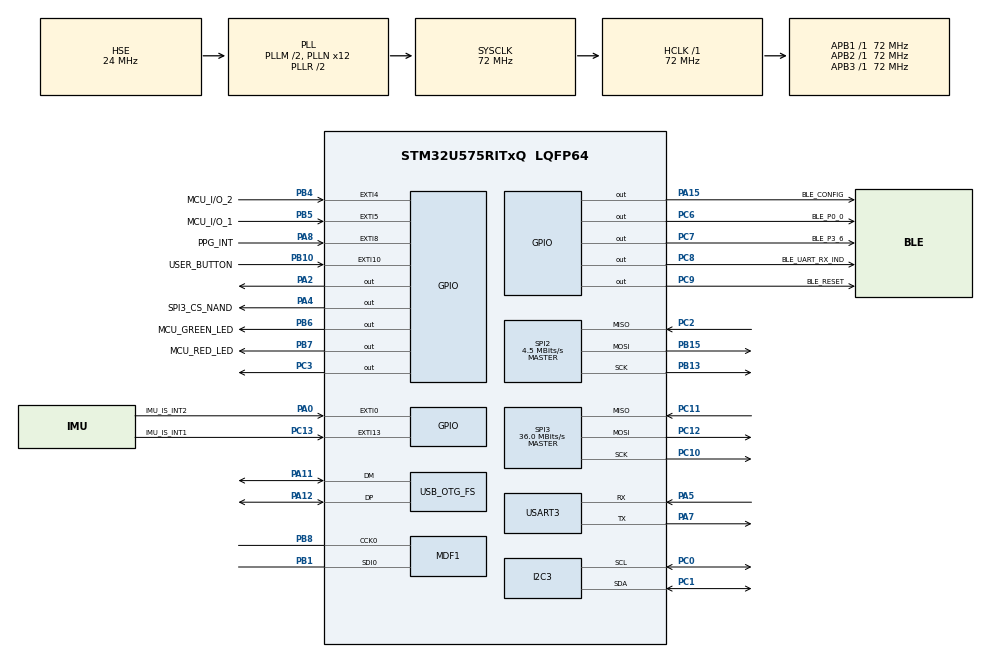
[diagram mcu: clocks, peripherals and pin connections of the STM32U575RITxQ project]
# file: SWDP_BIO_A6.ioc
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CORTEX_M33_NS.userName=CORTEX_M33
I2C3.Timing=0x10808DD3
MDF1.MDF_COMPARAM_ActivationClockTrigger=ENABLE
MDF1.MDF_COMPARAM_ActivationOutputClock=ENABLE
MDF1.MDF_COMPARAM_Divider=5
MDF1.MDF_COMPARAM_Pins=MDF_OUTPUT_CLOCK_ALL
MDF1.MDF_DFLT0_AcquisitionMode=MDF_MODE_SYNC_CONT
MDF1.MDF_DFLT0_CIC_Mode=MDF_ONE_FILTER_SINC5
MDF1.MDF_DFLT0_Decimation=16
MDF1.MDF_DFLT0_DiscardSamples=255
MDF1.MDF_DFLT0_Gain=1
MDF1.MDF_DFLT0_HighPassFilterActivation=ENABLE
MDF1.MDF_DFLT0_ReshapeFilterActivation=ENABLE
MDF1.MDF_SITF0_Mode_Display=MDF_SITF_NORMAL_SPI_MODE
MDF1.MDF_SITF0_Threshold=31
Mcu.Family=STM32U5
Mcu.Name=STM32U575RITxQ
Mcu.Package=LQFP64
NVIC.EXTI0_IRQn=true\:0\:0\:false\:false\:true\:true\:true\:true
NVIC.EXTI10_IRQn=true\:0\:0\:false\:false\:true\:true\:true\:true
NVIC.EXTI13_IRQn=true\:0\:0\:false\:false\:true\:true\:true\:true
NVIC.EXTI4_IRQn=true\:0\:0\:false\:false\:true\:true\:true\:true
NVIC.EXTI5_IRQn=true\:0\:0\:false\:false\:true\:true\:true\:true
NVIC.EXTI8_IRQn=true\:0\:0\:false\:false\:true\:true\:true\:true
NVIC.MDF1_FLT0_IRQn=true\:0\:0\:false\:false\:true\:true\:true\:true
NVIC.OTG_FS_IRQn=true\:0\:0\:false\:false\:true\:true\:true\:true
NVIC.PriorityGroup=NVIC_PRIORITYGROUP_4
NVIC.SPI2_IRQn=true\:0\:0\:false\:false\:true\:true\:true\:true
NVIC.SPI3_IRQn=true\:0\:0\:false\:false\:true\:true\:true\:true
NVIC.TIM2_IRQn=true\:2\:0\:true\:false\:true\:true\:true\:true
NVIC.TIM3_IRQn=true\:0\:0\:false\:false\:true\:true\:true\:true
NVIC.USART3_IRQn=true\:0\:0\:false\:false\:true\:true\:true\:true
PA0.GPIO_Label=IMU_IS_INT2
PA0.Signal=GPXTI0
PA11.GPIO_Speed=GPIO_SPEED_FREQ_VERY_HIGH
PA11.Mode=Device_Only
PA11.Signal=USB_OTG_FS_DM
PA12.GPIO_Speed=GPIO_SPEED_FREQ_VERY_HIGH
PA12.Mode=Device_Only
PA12.Signal=USB_OTG_FS_DP
PA13\ (JTMS/SWDIO).Mode=Trace_Asynchronous_SW
PA13\ (JTMS/SWDIO).Signal=DEBUG_JTMS-SWDIO
PA14\ (JTCK/SWCLK).Mode=Trace_Asynchronous_SW
PA14\ (JTCK/SWCLK).Signal=DEBUG_JTCK-SWCLK
PA15\ (JTDI).GPIO_Label=BLE_CONFIG
PA15\ (JTDI).PinState=GPIO_PIN_SET
PA15\ (JTDI).Signal=GPIO_Output
PA2.Signal=GPIO_Output
PA4.GPIO_Label=SPI3_CS_NAND
PA4.Signal=GPIO_Output
PA5.Mode=Asynchronous
PA5.Signal=USART3_RX
PA7.Mode=Asynchronous
PA7.Signal=USART3_TX
PA8.GPIO_Label=PPG_INT
PA8.GPIO_ModeDefaultEXTI=GPIO_MODE_IT_FALLING
PA8.GPIO_PuPd=GPIO_NOPULL
PA8.Signal=GPXTI8
PA9.Signal=USB_OTG_FS_VBUS
PB1.GPIO_Speed=GPIO_SPEED_FREQ_VERY_HIGH
PB1.Mode=MOD_MDF_SITF0_CCK0
PB1.Signal=MDF1_SDI0
PB10.GPIO_Label=USER_BUTTON
PB10.GPIO_ModeDefaultEXTI=GPIO_MODE_IT_RISING_FALLING
PB10.GPIO_PuPd=GPIO_PULLDOWN
PB10.Signal=GPXTI10
PB13.Mode=Full_Duplex_Master
PB13.Signal=SPI2_SCK
PB15.Mode=Full_Duplex_Master
PB15.Signal=SPI2_MOSI
PB3\ (JTDO/TRACESWO).Mode=Trace_Asynchronous_SW
PB3\ (JTDO/TRACESWO).Signal=DEBUG_JTDO-SWO
PB4\ (NJTRST).GPIO_Label=MCU_I/O_2
PB4\ (NJTRST).Signal=GPXTI4
PB5.GPIO_Label=MCU_I/O_1
PB5.Signal=GPXTI5
PB6.GPIO_Label=MCU_GREEN_LED
PB6.Signal=GPIO_Output
PB7.GPIO_Label=MCU_RED_LED
PB7.Signal=GPIO_Output
PB8.GPIO_FM8=SYSCFG_FASTMODEPLUS_PB8
PB8.GPIO_Speed=GPIO_SPEED_FREQ_VERY_HIGH
PB8.Mode=MOD_MDF_CCK0
PB8.Signal=MDF1_CCK0
PC0.Mode=I2C
PC0.Signal=I2C3_SCL
PC1.Mode=I2C
PC1.Signal=I2C3_SDA
PC10.Mode=Full_Duplex_Master
PC10.Signal=SPI3_SCK
PC11.Mode=Full_Duplex_Master
PC11.Signal=SPI3_MISO
PC12.Mode=Full_Duplex_Master
PC12.Signal=SPI3_MOSI
PC13.GPIO_Label=IMU_IS_INT1
PC13.Signal=GPXTI13
PC14-OSC32_IN\ (PC14).Mode=LSE-External-Oscillator
PC14-OSC32_IN\ (PC14).Signal=RCC_OSC32_IN
PC15-OSC32_OUT\ (PC15).Mode=LSE-External-Oscillator
PC15-OSC32_OUT\ (PC15).Signal=RCC_OSC32_OUT
PC2.Mode=Full_Duplex_Master
PC2.Signal=SPI2_MISO
PC3.Signal=GPIO_Output
PC6.GPIO_Label=BLE_P0_0
PC6.Signal=GPIO_Output
PC7.GPIO_Label=BLE_P3_6
PC7.Signal=GPIO_Output
PC8.GPIO_Label=BLE_UART_RX_IND
PC8.Signal=GPIO_Output
PC9.GPIO_Label=BLE_RESET
PC9.Signal=GPIO_Output
PH0-OSC_IN\ (PH0).Mode=HSE-External-Oscillator
PH0-OSC_IN\ (PH0).Signal=RCC_OSC_IN
PH1-OSC_OUT\ (PH1).Mode=HSE-External-Oscillator
PH1-OSC_OUT\ (PH1).Signal=RCC_OSC_OUT
ProjectManager.HeapSize=0x400
ProjectManager.StackSize=0x800
ProjectManager.TargetToolchain=CMake
RCC.ADCFreq_Value=16000000
RCC.AHBFreq_Value=72000000
RCC.APB1Freq_Value=72000000
RCC.APB1TimFreq_Value=72000000
RCC.APB2Freq_Value=72000000
RCC.APB2TimFreq_Value=72000000
RCC.APB3Freq_Value=72000000
RCC.CK48CLockSelection=RCC_CLK48CLKSOURCE_PLL1
RCC.CortexFreq_Value=72000000
RCC.EPOD_VALUE=24000000
RCC.HCLKFreq_Value=72000000
RCC.HSE_VALUE=24000000
RCC.HSI48_VALUE=48000000
RCC.HSI_VALUE=16000000
RCC.LSIDIV_VALUE=32000
RCC.MSIClockRange=RCC_MSIRANGE_0
RCC.MSI_VALUE=48000000
RCC.MdfClockSelection=RCC_MDF1CLKSOURCE_PLL3
RCC.PLL1Q=3
RCC.PLL2FRACN=0
RCC.PLL3FRACN=0
RCC.PLL3M=3
RCC.PLL3N=48
RCC.PLL3Q=25
RCC.PLL3Source=RCC_PLLSOURCE_HSE
RCC.PLLFRACN=0
RCC.PLLM=2
RCC.PLLN=12
RCC.PLLSourceVirtual=RCC_PLLSOURCE_HSE
RCC.SYSCLKFreq_VALUE=72000000
RCC.SYSCLKSource=RCC_SYSCLKSOURCE_PLLCLK
RCC.USBFreq_Value=48000000
RCC.VCOOutputFreq_Value=144000000
SPI2.BaudRatePrescaler=SPI_BAUDRATEPRESCALER_16
SPI2.CalculateBaudRate=4.5 MBits/s
SPI2.DataSize=SPI_DATASIZE_8BIT
SPI2.Direction=SPI_DIRECTION_2LINES
SPI2.Mode=SPI_MODE_MASTER
SPI2.VirtualType=VM_MASTER
SPI3.CalculateBaudRate=36.0 MBits/s
SPI3.Direction=SPI_DIRECTION_2LINES
SPI3.Mode=SPI_MODE_MASTER
SPI3.VirtualType=VM_MASTER
TIM2.PeriodNoDither=60000-1
TIM2.Prescaler=36000-1
TIM3.PeriodNoDither=550-1
TIM3.Prescaler=7200-1
USART3.VirtualMode-Asynchronous=VM_ASYNC
USB_OTG_FS.VirtualMode=Device_Only
VP_ICACHE_VS_ENABLE_ICACHE_MEMORY.Mode=Memoryregions
VP_LPBAMQUEUE_VS_QUEUE.Mode=QUEUEMODE
VP_LPBAM_VS_SIG1.Mode=SmartRun
VP_LPBAM_VS_SIG4.Mode=LPDMA1
VP_MDF1_VS_MDF_DFLT0.Mode=MOD_MDF_DFLT0
VP_MEMORYMAP_VS_MEMORYMAP.Mode=CurAppReg
VP_PWR_VS_SECSignals.Mode=Security/Privilege
VP_TIM2_VS_ClockSourceINT.Mode=Internal
VP_TIM3_VS_ClockSourceINT.Mode=Internal
board=custom

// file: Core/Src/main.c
/* USER CODE BEGIN Header */
/**
  ******************************************************************************
  * @file           : main.c
  * @brief          : Main application file — PPG Heart Rate Monitor with BLE.
  ******************************************************************************
  */
/* USER CODE END Header */
#include "main.h"

/* USER CODE BEGIN Includes */
#include <math.h>
#include <stdint.h>
#include <stdio.h>
#include <string.h>

#include "bluetooth.h"
#include "hr_algorithm.h"
#include "imu_driver.h"
#include "led_driver.h"
#include "Memory_operations.h"
#include "ppg_driver.h"
#include "SPI.h"
#include "SPI_NAND.h"
#include "stm32u5xx_hal.h"
#include "stm32u5xx_hal_gpio.h"
#include "stm32u5xx_hal_tim.h"
#include "stm32u5xx_hal_uart.h"
#include "usbd_cdc_if.h"
#include "tempsens_driver.h"
#include "../../USB_Device/App/usb_device.h"
/* USER CODE END Includes */

I2C_HandleTypeDef hi2c3;

MDF_HandleTypeDef MdfHandle0;
MDF_FilterConfigTypeDef MdfFilterConfig0;

SPI_HandleTypeDef hspi2;
SPI_HandleTypeDef hspi3;

TIM_HandleTypeDef htim2;
TIM_HandleTypeDef htim3;

UART_HandleTypeDef huart3;

PCD_HandleTypeDef hpcd_USB_OTG_FS;

/* USER CODE BEGIN PV */

// --- State Machine ---
// The current state of the application. Initial state is IDLE.
static AppState current_state = STATE_IDLE;

// --- Global Flags and Variables ---
// Flag to indicate a USB connection event.
// Set to 1 when a USB connection is detected.
uint8_t usb_flag = 0;

// ---- PPG acquisition and circular buffer --------------------------------- //
//
// The FIFO interrupt fires when 17 samples are available (FIFO_A_FULL = 15).
// ppg_acq_buf accumulates samples across ISR calls until PPG_ACQ_SIZE
// samples are collected.  At that point the circular buffer is updated with a
// 50 % overlap shift and hr_ready_flag is raised for the main loop.
//
static volatile uint8_t  hr_ready_flag   = 0;
static volatile uint16_t ppg_acq_idx     = 0;      /* fill index into acq buf  */
static uint32_t ppg_acq_buf[PPG_ACQ_SIZE];          /* ISR-only accumulation    */
static uint32_t ppg_circ_buf[PPG_CIRC_SIZE];        /* shared with main loop    */

static float32_t registered_heart_rates[REGISTERED_HR_SAMPLES_SIZE] = {0.0f};
static uint8_t registered_hr_idx = 0;
static uint8_t registered_hr_count = 0;  // number of valid samples collected so far (warm-up)

static uint8_t flag_temp = 0;
static float temp_value = 60;

/* USER CODE END PV */

void SystemClock_Config(void);
static void MX_GPIO_Init(void);
static void MX_ICACHE_Init(void);
static void MX_I2C3_Init(void);
static void MX_USART3_UART_Init(void);
static void MX_USB_OTG_FS_PCD_Init(void);
static void MX_MDF1_Init(void);
static void MX_TIM2_Init(void);
static void MX_SPI2_Init(void);
static void MX_SPI3_Init(void);
static void MX_TIM3_Init(void);

int main(void)
{

  /* MCU Configuration--------------------------------------------------------*/

  /* Reset of all peripherals, Initializes the Flash interface and the Systick. */
  HAL_Init();

  /* Configure the system clock */
  SystemClock_Config();

  /* Initialize all configured peripherals */
  MX_GPIO_Init();
  MX_ICACHE_Init();
  MX_I2C3_Init();
  MX_USART3_UART_Init();
  MX_USB_OTG_FS_PCD_Init();
  MX_MDF1_Init();
  MX_TIM2_Init();
  MX_SPI2_Init();
  MX_SPI3_Init();
  MX_TIM3_Init();
  /* USER CODE BEGIN 2 */

  // Turn the RED LED on to indicate the start of the initialization process
  LED_On(LED_RED);

  // Initialize hardware peripherals
  BLE_Initialize();
  MX_USB_Device_Init();
  HAL_Delay(1000);

  HR_Algorithm_Init();

  if (PPG_Initialize() != 1) {
    // MAX30101 initialization failed, blink red LED for 2 seconds
    LED_Toggle(LED_RED);
    HAL_Delay(500);
    LED_Toggle(LED_RED);
    HAL_Delay(500);
    LED_Toggle(LED_RED);
    HAL_Delay(500);
    LED_Toggle(LED_RED);
    HAL_Delay(500);
    LED_Toggle(LED_RED);
    HAL_Delay(500);
    LED_Toggle(LED_RED);
    HAL_Delay(500);
  }

  // Turn off the red LED to indicate that initialization is complete
  LED_Off(LED_RED);

  //Initialize temperture sensor
  Temp_Init();

  // Start TIM2 to trigger temperature readings every 30 seconds
  HAL_TIM_Base_Start_IT(&htim2);

  /* USER CODE END 2 */

  /* Infinite loop */
  while (1)
  {

    /* USER CODE BEGIN 3 */

		//LED_Toggle(LED_GREEN);
		//HAL_Delay(1000);

	  switch(current_state)
	  {
        case STATE_IDLE:
            if (flag_temp) {
              flag_temp = 0;

              //Send it via BLE
              BLE_SendPacket_Temperature(temp_value);
            }
            break;

	  	  case STATE_ACQUISITION:
            if (hr_ready_flag) {
              hr_ready_flag = 0;
              float32_t bpm = HR_Process(ppg_circ_buf);

              // Store the raw float BPM (no premature rounding)
              registered_heart_rates[registered_hr_idx] = bpm;
              if (registered_hr_count < REGISTERED_HR_SAMPLES_SIZE) {
                registered_hr_count++;
              }
              // Increase the registered hr_index with wrap around
              if (registered_hr_idx == REGISTERED_HR_SAMPLES_SIZE - 1) {
                registered_hr_idx = 0;
              } else {
                registered_hr_idx++;
              }

              // Compute the average over the valid samples only (warm-up safe)
              float32_t hr_sum = 0.0f;
              for (uint8_t i = 0; i < registered_hr_count; i++) {
                hr_sum += registered_heart_rates[i];
              }
              uint8_t hr_avg = (uint8_t)((hr_sum / registered_hr_count) + 0.5f); // Round to nearest integer

              // BLE_SendPacket_PPG(ppg_circ_buf + PPG_ACQ_SIZE, PPG_ACQ_SIZE);
              BLE_SendPacket_HR(hr_avg);
            }

            if (flag_temp) {
              flag_temp = 0;

              //Send it via BLE
              BLE_SendPacket_Temperature(temp_value);
            }
            break;
        default:
            break;

	  }

  }
  /* USER CODE END 3 */
}

void SystemClock_Config(void)
{
  RCC_OscInitTypeDef RCC_OscInitStruct = {0};
  RCC_ClkInitTypeDef RCC_ClkInitStruct = {0};

  /** Configure the main internal regulator output voltage
  */
  if (HAL_PWREx_ControlVoltageScaling(PWR_REGULATOR_VOLTAGE_SCALE2) != HAL_OK)
  {
    Error_Handler();
  }

  /** Initializes the CPU, AHB and APB buses clocks
  */
  RCC_OscInitStruct.OscillatorType = RCC_OSCILLATORTYPE_HSE;
  RCC_OscInitStruct.HSEState = RCC_HSE_ON;
  RCC_OscInitStruct.PLL.PLLState = RCC_PLL_ON;
  RCC_OscInitStruct.PLL.PLLSource = RCC_PLLSOURCE_HSE;
  RCC_OscInitStruct.PLL.PLLMBOOST = RCC_PLLMBOOST_DIV2;
  RCC_OscInitStruct.PLL.PLLM = 2;
  RCC_OscInitStruct.PLL.PLLN = 12;
  RCC_OscInitStruct.PLL.PLLP = 2;
  RCC_OscInitStruct.PLL.PLLQ = 3;
  RCC_OscInitStruct.PLL.PLLR = 2;
  RCC_OscInitStruct.PLL.PLLRGE = RCC_PLLVCIRANGE_1;
  RCC_OscInitStruct.PLL.PLLFRACN = 0;
  if (HAL_RCC_OscConfig(&RCC_OscInitStruct) != HAL_OK)
  {
    Error_Handler();
  }

  /** Initializes the CPU, AHB and APB buses clocks
  */
  RCC_ClkInitStruct.ClockType = RCC_CLOCKTYPE_HCLK|RCC_CLOCKTYPE_SYSCLK
                              |RCC_CLOCKTYPE_PCLK1|RCC_CLOCKTYPE_PCLK2
                              |RCC_CLOCKTYPE_PCLK3;
  RCC_ClkInitStruct.SYSCLKSource = RCC_SYSCLKSOURCE_PLLCLK;
  RCC_ClkInitStruct.AHBCLKDivider = RCC_SYSCLK_DIV1;
  RCC_ClkInitStruct.APB1CLKDivider = RCC_HCLK_DIV1;
  RCC_ClkInitStruct.APB2CLKDivider = RCC_HCLK_DIV1;
  RCC_ClkInitStruct.APB3CLKDivider = RCC_HCLK_DIV1;

  if (HAL_RCC_ClockConfig(&RCC_ClkInitStruct, FLASH_LATENCY_2) != HAL_OK)
  {
    Error_Handler();
  }
}

static void MX_I2C3_Init(void)
{

  hi2c3.Instance = I2C3;
  hi2c3.Init.Timing = 0x10808DD3;
  hi2c3.Init.OwnAddress1 = 0;
  hi2c3.Init.AddressingMode = I2C_ADDRESSINGMODE_7BIT;
  hi2c3.Init.DualAddressMode = I2C_DUALADDRESS_DISABLE;
  hi2c3.Init.OwnAddress2 = 0;
  hi2c3.Init.OwnAddress2Masks = I2C_OA2_NOMASK;
  hi2c3.Init.GeneralCallMode = I2C_GENERALCALL_DISABLE;
  hi2c3.Init.NoStretchMode = I2C_NOSTRETCH_DISABLE;
  if (HAL_I2C_Init(&hi2c3) != HAL_OK)
  {
    Error_Handler();
  }

  /** Configure Analogue filter
  */
  if (HAL_I2CEx_ConfigAnalogFilter(&hi2c3, I2C_ANALOGFILTER_ENABLE) != HAL_OK)
  {
    Error_Handler();
  }

  /** Configure Digital filter
  */
  if (HAL_I2CEx_ConfigDigitalFilter(&hi2c3, 0) != HAL_OK)
  {
    Error_Handler();
  }

}

static void MX_ICACHE_Init(void)
{

}

static void MX_MDF1_Init(void)
{

  /**
    MdfHandle0 structure initialization and HAL_MDF_Init function call
  */
  MdfHandle0.Instance = MDF1_Filter0;
  MdfHandle0.Init.CommonParam.InterleavedFilters = 0;
  MdfHandle0.Init.CommonParam.ProcClockDivider = 1;
  MdfHandle0.Init.CommonParam.OutputClock.Activation = ENABLE;
  MdfHandle0.Init.CommonParam.OutputClock.Pins = MDF_OUTPUT_CLOCK_ALL;
  MdfHandle0.Init.CommonParam.OutputClock.Divider = 5;
  MdfHandle0.Init.CommonParam.OutputClock.Trigger.Activation = ENABLE;
  MdfHandle0.Init.CommonParam.OutputClock.Trigger.Source = MDF_CLOCK_TRIG_TRGO;
  MdfHandle0.Init.CommonParam.OutputClock.Trigger.Edge = MDF_CLOCK_TRIG_FALLING_EDGE;
  MdfHandle0.Init.SerialInterface.Activation = ENABLE;
  MdfHandle0.Init.SerialInterface.Mode = MDF_SITF_NORMAL_SPI_MODE;
  MdfHandle0.Init.SerialInterface.ClockSource = MDF_SITF_CCK0_SOURCE;
  MdfHandle0.Init.SerialInterface.Threshold = 31;
  MdfHandle0.Init.FilterBistream = MDF_BITSTREAM0_RISING;
  if (HAL_MDF_Init(&MdfHandle0) != HAL_OK)
  {
    Error_Handler();
  }

  /**
    MdfFilterConfig0, MdfOldConfig0 and/or MdfScdConfig0 structures initialization

    WARNING : only structures are filled, no specific init function call for filter
  */
  MdfFilterConfig0.DataSource = MDF_DATA_SOURCE_BSMX;
  MdfFilterConfig0.Delay = 0;
  MdfFilterConfig0.CicMode = MDF_ONE_FILTER_SINC5;
  MdfFilterConfig0.DecimationRatio = 16;
  MdfFilterConfig0.Offset = 0;
  MdfFilterConfig0.Gain = 1;
  MdfFilterConfig0.ReshapeFilter.Activation = ENABLE;
  MdfFilterConfig0.ReshapeFilter.DecimationRatio = MDF_RSF_DECIMATION_RATIO_4;
  MdfFilterConfig0.HighPassFilter.Activation = ENABLE;
  MdfFilterConfig0.HighPassFilter.CutOffFrequency = MDF_HPF_CUTOFF_0_000625FPCM;
  MdfFilterConfig0.Integrator.Activation = DISABLE;
  MdfFilterConfig0.SoundActivity.Activation = DISABLE;
  MdfFilterConfig0.AcquisitionMode = MDF_MODE_SYNC_CONT;
  MdfFilterConfig0.FifoThreshold = MDF_FIFO_THRESHOLD_NOT_EMPTY;
  MdfFilterConfig0.DiscardSamples = 255;
  MdfFilterConfig0.Trigger.Source = MDF_CLOCK_TRIG_TRGO;
  MdfFilterConfig0.Trigger.Edge = MDF_FILTER_TRIG_RISING_EDGE;

}

static void MX_SPI2_Init(void)
{

  SPI_AutonomousModeConfTypeDef HAL_SPI_AutonomousMode_Cfg_Struct = {0};

  /* SPI2 parameter configuration*/
  hspi2.Instance = SPI2;
  hspi2.Init.Mode = SPI_MODE_MASTER;
  hspi2.Init.Direction = SPI_DIRECTION_2LINES;
  hspi2.Init.DataSize = SPI_DATASIZE_8BIT;
  hspi2.Init.CLKPolarity = SPI_POLARITY_LOW;
  hspi2.Init.CLKPhase = SPI_PHASE_1EDGE;
  hspi2.Init.NSS = SPI_NSS_SOFT;
  hspi2.Init.BaudRatePrescaler = SPI_BAUDRATEPRESCALER_16;
  hspi2.Init.FirstBit = SPI_FIRSTBIT_MSB;
  hspi2.Init.TIMode = SPI_TIMODE_DISABLE;
  hspi2.Init.CRCCalculation = SPI_CRCCALCULATION_DISABLE;
  hspi2.Init.CRCPolynomial = 0x7;
  hspi2.Init.NSSPMode = SPI_NSS_PULSE_ENABLE;
  hspi2.Init.NSSPolarity = SPI_NSS_POLARITY_LOW;
  hspi2.Init.FifoThreshold = SPI_FIFO_THRESHOLD_01DATA;
  hspi2.Init.MasterSSIdleness = SPI_MASTER_SS_IDLENESS_00CYCLE;
  hspi2.Init.MasterInterDataIdleness = SPI_MASTER_INTERDATA_IDLENESS_00CYCLE;
  hspi2.Init.MasterReceiverAutoSusp = SPI_MASTER_RX_AUTOSUSP_DISABLE;
  hspi2.Init.MasterKeepIOState = SPI_MASTER_KEEP_IO_STATE_DISABLE;
  hspi2.Init.IOSwap = SPI_IO_SWAP_DISABLE;
  hspi2.Init.ReadyMasterManagement = SPI_RDY_MASTER_MANAGEMENT_INTERNALLY;
  hspi2.Init.ReadyPolarity = SPI_RDY_POLARITY_HIGH;
  if (HAL_SPI_Init(&hspi2) != HAL_OK)
  {
    Error_Handler();
  }
  HAL_SPI_AutonomousMode_Cfg_Struct.TriggerState = SPI_AUTO_MODE_DISABLE;
  HAL_SPI_AutonomousMode_Cfg_Struct.TriggerSelection = SPI_GRP1_GPDMA_CH0_TCF_TRG;
  HAL_SPI_AutonomousMode_Cfg_Struct.TriggerPolarity = SPI_TRIG_POLARITY_RISING;
  if (HAL_SPIEx_SetConfigAutonomousMode(&hspi2, &HAL_SPI_AutonomousMode_Cfg_Struct) != HAL_OK)
  {
    Error_Handler();
  }

}

static void MX_SPI3_Init(void)
{

  SPI_AutonomousModeConfTypeDef HAL_SPI_AutonomousMode_Cfg_Struct = {0};

  /* SPI3 parameter configuration*/
  hspi3.Instance = SPI3;
  hspi3.Init.Mode = SPI_MODE_MASTER;
  hspi3.Init.Direction = SPI_DIRECTION_2LINES;
  hspi3.Init.DataSize = SPI_DATASIZE_8BIT;
  hspi3.Init.CLKPolarity = SPI_POLARITY_LOW;
  hspi3.Init.CLKPhase = SPI_PHASE_1EDGE;
  hspi3.Init.NSS = SPI_NSS_SOFT;
  hspi3.Init.BaudRatePrescaler = SPI_BAUDRATEPRESCALER_2;
  hspi3.Init.FirstBit = SPI_FIRSTBIT_MSB;
  hspi3.Init.TIMode = SPI_TIMODE_DISABLE;
  hspi3.Init.CRCCalculation = SPI_CRCCALCULATION_DISABLE;
  hspi3.Init.CRCPolynomial = 0x7;
  hspi3.Init.NSSPMode = SPI_NSS_PULSE_ENABLE;
  hspi3.Init.NSSPolarity = SPI_NSS_POLARITY_LOW;
  hspi3.Init.FifoThreshold = SPI_FIFO_THRESHOLD_01DATA;
  hspi3.Init.MasterSSIdleness = SPI_MASTER_SS_IDLENESS_00CYCLE;
  hspi3.Init.MasterInterDataIdleness = SPI_MASTER_INTERDATA_IDLENESS_00CYCLE;
  hspi3.Init.MasterReceiverAutoSusp = SPI_MASTER_RX_AUTOSUSP_DISABLE;
  hspi3.Init.MasterKeepIOState = SPI_MASTER_KEEP_IO_STATE_DISABLE;
  hspi3.Init.IOSwap = SPI_IO_SWAP_DISABLE;
  hspi3.Init.ReadyMasterManagement = SPI_RDY_MASTER_MANAGEMENT_INTERNALLY;
  hspi3.Init.ReadyPolarity = SPI_RDY_POLARITY_HIGH;
  if (HAL_SPI_Init(&hspi3) != HAL_OK)
  {
    Error_Handler();
  }
  HAL_SPI_AutonomousMode_Cfg_Struct.TriggerState = SPI_AUTO_MODE_DISABLE;
  HAL_SPI_AutonomousMode_Cfg_Struct.TriggerSelection = SPI_GRP2_LPDMA_CH0_TCF_TRG;
  HAL_SPI_AutonomousMode_Cfg_Struct.TriggerPolarity = SPI_TRIG_POLARITY_RISING;
  if (HAL_SPIEx_SetConfigAutonomousMode(&hspi3, &HAL_SPI_AutonomousMode_Cfg_Struct) != HAL_OK)
  {
    Error_Handler();
  }

}

static void MX_TIM2_Init(void)
{

  TIM_ClockConfigTypeDef sClockSourceConfig = {0};
  TIM_MasterConfigTypeDef sMasterConfig = {0};

  htim2.Instance = TIM2;
  htim2.Init.Prescaler = 36000-1;
  htim2.Init.CounterMode = TIM_COUNTERMODE_UP;
  htim2.Init.Period = 59999;
  htim2.Init.ClockDivision = TIM_CLOCKDIVISION_DIV1;
  htim2.Init.AutoReloadPreload = TIM_AUTORELOAD_PRELOAD_DISABLE;
  if (HAL_TIM_Base_Init(&htim2) != HAL_OK)
  {
    Error_Handler();
  }
  sClockSourceConfig.ClockSource = TIM_CLOCKSOURCE_INTERNAL;
  if (HAL_TIM_ConfigClockSource(&htim2, &sClockSourceConfig) != HAL_OK)
  {
    Error_Handler();
  }
  sMasterConfig.MasterOutputTrigger = TIM_TRGO_RESET;
  sMasterConfig.MasterSlaveMode = TIM_MASTERSLAVEMODE_DISABLE;
  if (HAL_TIMEx_MasterConfigSynchronization(&htim2, &sMasterConfig) != HAL_OK)
  {
    Error_Handler();
  }

}

static void MX_TIM3_Init(void)
{

  TIM_ClockConfigTypeDef sClockSourceConfig = {0};
  TIM_MasterConfigTypeDef sMasterConfig = {0};

  htim3.Instance = TIM3;
  htim3.Init.Prescaler = 7200-1;
  htim3.Init.CounterMode = TIM_COUNTERMODE_UP;
  htim3.Init.Period = 549;
  htim3.Init.ClockDivision = TIM_CLOCKDIVISION_DIV1;
  htim3.Init.AutoReloadPreload = TIM_AUTORELOAD_PRELOAD_DISABLE;
  if (HAL_TIM_Base_Init(&htim3) != HAL_OK)
  {
    Error_Handler();
  }
  sClockSourceConfig.ClockSource = TIM_CLOCKSOURCE_INTERNAL;
  if (HAL_TIM_ConfigClockSource(&htim3, &sClockSourceConfig) != HAL_OK)
  {
    Error_Handler();
  }
  sMasterConfig.MasterOutputTrigger = TIM_TRGO_RESET;
  sMasterConfig.MasterSlaveMode = TIM_MASTERSLAVEMODE_DISABLE;
  if (HAL_TIMEx_MasterConfigSynchronization(&htim3, &sMasterConfig) != HAL_OK)
  {
    Error_Handler();
  }

}

static void MX_USART3_UART_Init(void)
{

  huart3.Instance = USART3;
  huart3.Init.BaudRate = 115200;
  huart3.Init.WordLength = UART_WORDLENGTH_8B;
  huart3.Init.StopBits = UART_STOPBITS_1;
  huart3.Init.Parity = UART_PARITY_NONE;
  huart3.Init.Mode = UART_MODE_TX_RX;
  huart3.Init.HwFlowCtl = UART_HWCONTROL_NONE;
  huart3.Init.OverSampling = UART_OVERSAMPLING_16;
  huart3.Init.OneBitSampling = UART_ONE_BIT_SAMPLE_DISABLE;
  huart3.Init.ClockPrescaler = UART_PRESCALER_DIV1;
  huart3.AdvancedInit.AdvFeatureInit = UART_ADVFEATURE_NO_INIT;
  if (HAL_UART_Init(&huart3) != HAL_OK)
  {
    Error_Handler();
  }
  if (HAL_UARTEx_SetTxFifoThreshold(&huart3, UART_TXFIFO_THRESHOLD_1_8) != HAL_OK)
  {
    Error_Handler();
  }
  if (HAL_UARTEx_SetRxFifoThreshold(&huart3, UART_RXFIFO_THRESHOLD_1_8) != HAL_OK)
  {
    Error_Handler();
  }
  if (HAL_UARTEx_DisableFifoMode(&huart3) != HAL_OK)
  {
    Error_Handler();
  }

}

static void MX_USB_OTG_FS_PCD_Init(void)
{

  hpcd_USB_OTG_FS.Instance = USB_OTG_FS;
  hpcd_USB_OTG_FS.Init.dev_endpoints = 6;
  hpcd_USB_OTG_FS.Init.speed = PCD_SPEED_FULL;
  hpcd_USB_OTG_FS.Init.phy_itface = PCD_PHY_EMBEDDED;
  hpcd_USB_OTG_FS.Init.Sof_enable = DISABLE;
  hpcd_USB_OTG_FS.Init.low_power_enable = DISABLE;
  hpcd_USB_OTG_FS.Init.lpm_enable = DISABLE;
  hpcd_USB_OTG_FS.Init.battery_charging_enable = DISABLE;
  hpcd_USB_OTG_FS.Init.use_dedicated_ep1 = DISABLE;
  hpcd_USB_OTG_FS.Init.vbus_sensing_enable = DISABLE;
  hpcd_USB_OTG_FS.Init.dma_enable = DISABLE;
  if (HAL_PCD_Init(&hpcd_USB_OTG_FS) != HAL_OK)
  {
    Error_Handler();
  }

}

static void MX_GPIO_Init(void)
{
  GPIO_InitTypeDef GPIO_InitStruct = {0};

  /* GPIO Ports Clock Enable */
  __HAL_RCC_GPIOC_CLK_ENABLE();
  __HAL_RCC_GPIOH_CLK_ENABLE();
  __HAL_RCC_GPIOA_CLK_ENABLE();
  __HAL_RCC_GPIOB_CLK_ENABLE();

  /*Configure GPIO pin Output Level */
  HAL_GPIO_WritePin(GPIOC, GPIO_PIN_3|BLE_P0_0_Pin|BLE_P3_6_Pin|BLE_UART_RX_IND_Pin
                          |BLE_RESET_Pin, GPIO_PIN_RESET);

  /*Configure GPIO pin Output Level */
  HAL_GPIO_WritePin(GPIOA, GPIO_PIN_2|SPI3_CS_NAND_Pin, GPIO_PIN_RESET);

  /*Configure GPIO pin Output Level */
  HAL_GPIO_WritePin(BLE_CONFIG_GPIO_Port, BLE_CONFIG_Pin, GPIO_PIN_SET);

  /*Configure GPIO pin Output Level */
  HAL_GPIO_WritePin(GPIOB, MCU_GREEN_LED_Pin|MCU_RED_LED_Pin, GPIO_PIN_RESET);

  /*Configure GPIO pin : IMU_IS_INT1_Pin */
  GPIO_InitStruct.Pin = IMU_IS_INT1_Pin;
  GPIO_InitStruct.Mode = GPIO_MODE_IT_RISING;
  GPIO_InitStruct.Pull = GPIO_NOPULL;
  HAL_GPIO_Init(IMU_IS_INT1_GPIO_Port, &GPIO_InitStruct);

  /*Configure GPIO pins : PC3 BLE_P0_0_Pin BLE_P3_6_Pin BLE_UART_RX_IND_Pin
                           BLE_RESET_Pin */
  GPIO_InitStruct.Pin = GPIO_PIN_3|BLE_P0_0_Pin|BLE_P3_6_Pin|BLE_UART_RX_IND_Pin
                          |BLE_RESET_Pin;
  GPIO_InitStruct.Mode = GPIO_MODE_OUTPUT_PP;
  GPIO_InitStruct.Pull = GPIO_NOPULL;
  GPIO_InitStruct.Speed = GPIO_SPEED_FREQ_LOW;
  HAL_GPIO_Init(GPIOC, &GPIO_InitStruct);

  /*Configure GPIO pin : IMU_IS_INT2_Pin */
  GPIO_InitStruct.Pin = IMU_IS_INT2_Pin;
  GPIO_InitStruct.Mode = GPIO_MODE_IT_RISING;
  GPIO_InitStruct.Pull = GPIO_NOPULL;
  HAL_GPIO_Init(IMU_IS_INT2_GPIO_Port, &GPIO_InitStruct);

  /*Configure GPIO pins : PA2 SPI3_CS_NAND_Pin BLE_CONFIG_Pin */
  GPIO_InitStruct.Pin = GPIO_PIN_2|SPI3_CS_NAND_Pin|BLE_CONFIG_Pin;
  GPIO_InitStruct.Mode = GPIO_MODE_OUTPUT_PP;
  GPIO_InitStruct.Pull = GPIO_NOPULL;
  GPIO_InitStruct.Speed = GPIO_SPEED_FREQ_LOW;
  HAL_GPIO_Init(GPIOA, &GPIO_InitStruct);

  /*Configure GPIO pin : USER_BUTTON_Pin */
  GPIO_InitStruct.Pin = USER_BUTTON_Pin;
  GPIO_InitStruct.Mode = GPIO_MODE_IT_RISING_FALLING;
  GPIO_InitStruct.Pull = GPIO_PULLDOWN;
  HAL_GPIO_Init(USER_BUTTON_GPIO_Port, &GPIO_InitStruct);

  /*Configure GPIO pin : PPG_INT_Pin */
  GPIO_InitStruct.Pin = PPG_INT_Pin;
  GPIO_InitStruct.Mode = GPIO_MODE_IT_FALLING;
  GPIO_InitStruct.Pull = GPIO_NOPULL;
  HAL_GPIO_Init(PPG_INT_GPIO_Port, &GPIO_InitStruct);

  /*Configure GPIO pins : MCU_I_O_2_Pin MCU_I_O_1_Pin */
  GPIO_InitStruct.Pin = MCU_I_O_2_Pin|MCU_I_O_1_Pin;
  GPIO_InitStruct.Mode = GPIO_MODE_IT_RISING;
  GPIO_InitStruct.Pull = GPIO_NOPULL;
  HAL_GPIO_Init(GPIOB, &GPIO_InitStruct);

  /*Configure GPIO pins : MCU_GREEN_LED_Pin MCU_RED_LED_Pin */
  GPIO_InitStruct.Pin = MCU_GREEN_LED_Pin|MCU_RED_LED_Pin;
  GPIO_InitStruct.Mode = GPIO_MODE_OUTPUT_PP;
  GPIO_InitStruct.Pull = GPIO_NOPULL;
  GPIO_InitStruct.Speed = GPIO_SPEED_FREQ_LOW;
  HAL_GPIO_Init(GPIOB, &GPIO_InitStruct);

  /* EXTI interrupt init*/
  HAL_NVIC_SetPriority(EXTI0_IRQn, 0, 0);
  HAL_NVIC_EnableIRQ(EXTI0_IRQn);

  HAL_NVIC_SetPriority(EXTI4_IRQn, 0, 0);
  HAL_NVIC_EnableIRQ(EXTI4_IRQn);

  HAL_NVIC_SetPriority(EXTI5_IRQn, 0, 0);
  HAL_NVIC_EnableIRQ(EXTI5_IRQn);

  HAL_NVIC_SetPriority(EXTI8_IRQn, 0, 0);
  HAL_NVIC_EnableIRQ(EXTI8_IRQn);

  HAL_NVIC_SetPriority(EXTI10_IRQn, 0, 0);
  HAL_NVIC_EnableIRQ(EXTI10_IRQn);

  HAL_NVIC_SetPriority(EXTI13_IRQn, 0, 0);
  HAL_NVIC_EnableIRQ(EXTI13_IRQn);

}

/* USER CODE BEGIN 4 */
/**
  * @brief  Callback function for the timer period elapsed event.
  * @param  htim: Pointer to the timer handle.
  */
void HAL_TIM_PeriodElapsedCallback(TIM_HandleTypeDef *htim)
{
  if (htim->Instance == TIM2) {
    MAX30205_StartOneShot();
    // Start TIM3 to wait for the conversion to complete (50 ms)
    HAL_TIM_Base_Start_IT(&htim3);
  }
  else if (htim->Instance == TIM3) {
    // Stop TIM3 to prevent further interrupts until the next one-shot trigger
    HAL_TIM_Base_Stop_IT(&htim3);

    //read temp value and do the convertion to °C
    MAX30205_GetTemperature(&temp_value);

    flag_temp=1;
  }
}

/**
  * @brief  Callback function for external interrupt events (e.g., a button press).
  * This function is triggered by the rising edge of the user button's signal.
  * @param  GPIO_Pin: The pin that triggered the interrupt.
  */
void HAL_GPIO_EXTI_Rising_Callback(uint16_t GPIO_Pin)
{
	if(GPIO_Pin == USER_BUTTON_Pin)
	{
		// A button press can trigger different state transitions depending on the current state.
		switch(current_state) {
			case STATE_IDLE:
				// If the device is idle, start data acquisition.
        if (PPG_StartAcquisition() == 1) {
          HR_Algorithm_Init();
          memset(registered_heart_rates, 0, sizeof(registered_heart_rates));
          registered_hr_idx   = 0;
          registered_hr_count = 0;
          current_state = STATE_ACQUISITION;
          flag_temp = 0;
        }
			break;
			case STATE_ACQUISITION:
				// Stop the PPG sensor before changing state so the INT line goes quiet
				PPG_StopAcquisition();
        LED_Off(LED_RED);
				hr_ready_flag = 0;
        ppg_acq_idx = 0;
				current_state = STATE_IDLE;
				break;
			default:
				break;
		}
	}
}

// Falling Edge when User Button is not pressed
void HAL_GPIO_EXTI_Falling_Callback(uint16_t GPIO_Pin)
{
  if (GPIO_Pin == PPG_INT_Pin && current_state == STATE_ACQUISITION)
  {
    LED_Toggle(LED_RED);

    // Read up to PPG_ACQ_SIZE raw samples from the sensor FIFO
    static uint32_t tmp_ppg[PPG_ACQ_SIZE];
    uint16_t n = PPG_HandleInterrupt(tmp_ppg, PPG_ACQ_SIZE);

    // Accumulate into acquisition buffer; trigger when full
    for (uint16_t i = 0u; i < n; i++) {
      ppg_acq_buf[ppg_acq_idx] = tmp_ppg[i];
      ppg_acq_idx++;

      if (ppg_acq_idx >= PPG_ACQ_SIZE) {
        // Shift circular buffer left by one half (50 % overlap)
        memcpy(ppg_circ_buf, ppg_circ_buf + PPG_ACQ_SIZE, PPG_ACQ_SIZE * sizeof(uint32_t));
        // Copy fresh batch into the second half
        memcpy(ppg_circ_buf + PPG_ACQ_SIZE, ppg_acq_buf, PPG_ACQ_SIZE * sizeof(uint32_t));
        hr_ready_flag = 1;
        ppg_acq_idx   = 0u;
      }
    }
  }
}

/* USER CODE END 4 */

void Error_Handler(void)
{
  __disable_irq();
  while (1)
  {
  }
}
